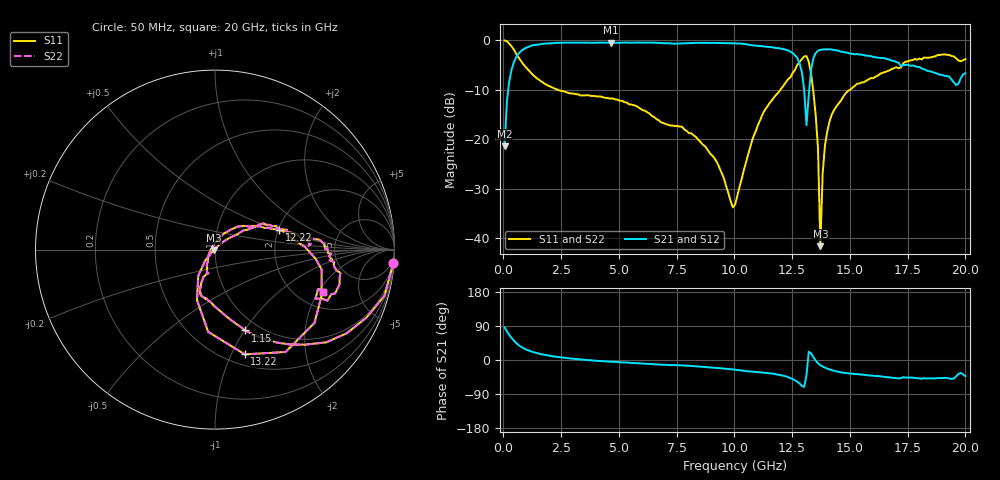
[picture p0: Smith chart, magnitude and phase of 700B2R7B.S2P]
!  American Technical Ceramics  Date:  3/13/98
!  One Norden Lane
!  Huntington Station,  NY.  11746-2102
!  Tel:  (516) 547-5700  Fax:  (516) 547-5748
!  Part Number  700B2R7B
!  Description: Porcelain, High Q, Low ESR
!  Application: Bypass, Coupling, Timing, Feedback
!  Tuning, Impedance Match, Blocking
# GHZ S DB R 50
! Freq  |S11|  S11 Ph  |S21|  S21 Ph  |S12|  S12 Ph  |S22|  S22 Ph
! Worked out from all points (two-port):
!   201 points, 50 MHz to 20 GHz, reference 50 ohm
!   highest |S21| = -0.45 dB at 4.64 GHz (marker M1); lowest = -21.4 dB at 50 MHz (marker M2)
!   |S21| within 3 dB of the highest: 546.2 MHz to 12.7 GHz (12.15 GHz wide, 184 % of centre); 13.44 GHz to 16.14 GHz (2.708 GHz wide, 18.3 % of centre)
!   lowest |S11| = -41.6 dB at 13.72 GHz (marker M3), VSWR 1.02, Z = 49.2 - j0.342 ohm
!   |S11| at or under -10 dB: 2.346 GHz to 11.99 GHz (9.643 GHz wide, 135 % of centre); 13.41 GHz to 15 GHz (1.592 GHz wide, 11.2 % of centre)
!   |S22| runs from -41.6 to 0.0 dB; largest |S21 - S12| = 0
!   S11 on the Smith chart (normalised r, x): 50 MHz: 1, -26; 1.15 GHz: 0.86, -1.01; 12.22 GHz: 2.03, +0.52; 13.22 GHz: 0.61, -1.13; 20 GHz: 2.74, -2.21
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0.05  -0.03 -4.3  -21.38 86.3  -21.38 86.3  -0.03 -4.3
0.15  -0.19 -15.3  -12.30 75.3  -12.30 75.3  -0.19 -15.3
0.35  -1.22 -32.5  -5.94 58.3  -5.94 58.3  -1.22 -32.5
1.15  -6.35 -69.4  -1.18 23.6  -1.18 23.6  -6.35 -69.4
3.44  -11.11 -100.8  -0.46 0.9  -0.46 0.9  -11.11 -100.8
4.64  -11.76 -108.6  -0.45 -4.7  -0.45 -4.7  -11.76 -108.6
6.73  -16.18 -110.8  -0.52 -12.2  -0.52 -12.2  -16.18 -110.8
8.73  -21.41 -119.7  -0.51 -18.4  -0.51 -18.4  -21.41 -119.7
10.03  -33.18 130.5  -0.59 -25.5  -0.59 -25.5  -33.18 130.5
11.02  -17.09 52.4  -1.13 -32.1  -1.13 -32.1  -17.09 52.4
12.22  -8.51 17.2  -1.90 -43.0  -1.90 -43.0  -8.51 17.2
12.92  -3.78 -23.4  -6.42 -68.2  -6.42 -68.2  -3.78 -23.4
13.12  -3.19 -55.5  -17.14 -39.6  -17.14 -39.6  -3.19 -55.5
13.22  -4.34 -74.1  -11.00 21.8  -11.00 21.8  -4.34 -74.1
13.42  -10.49 -109.6  -3.61 7.2  -3.61 7.2  -10.49 -109.6
13.62  -21.90 -132.1  -2.10 -8.3  -2.10 -8.3  -21.90 -132.1
13.72  -41.58 -155.4  -1.92 -13.8  -1.92 -13.8  -41.58 -155.4
13.82  -26.95 47.7  -1.84 -17.0  -1.84 -17.0  -26.95 47.7
13.92  -21.19 40.8  -1.83 -20.2  -1.83 -20.2  -21.19 40.8
14.21  -15.05 34.2  -1.86 -26.7  -1.86 -26.7  -15.05 34.2
16.71  -6.08 6.9  -3.88 -45.6  -3.88 -45.6  -6.08 6.9
20  -3.78 -21.2  -6.65 -42.6  -6.65 -42.6  -3.78 -21.2
